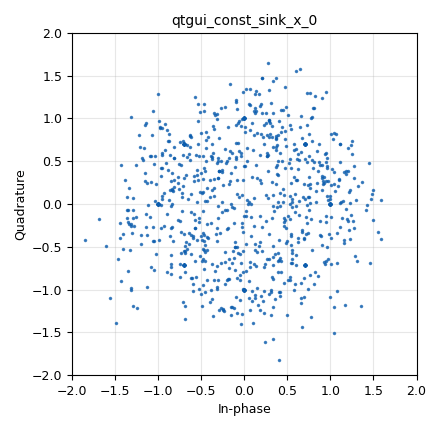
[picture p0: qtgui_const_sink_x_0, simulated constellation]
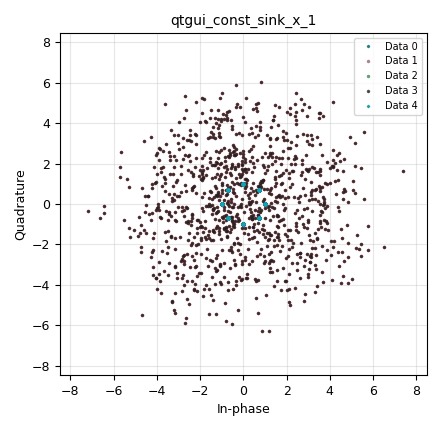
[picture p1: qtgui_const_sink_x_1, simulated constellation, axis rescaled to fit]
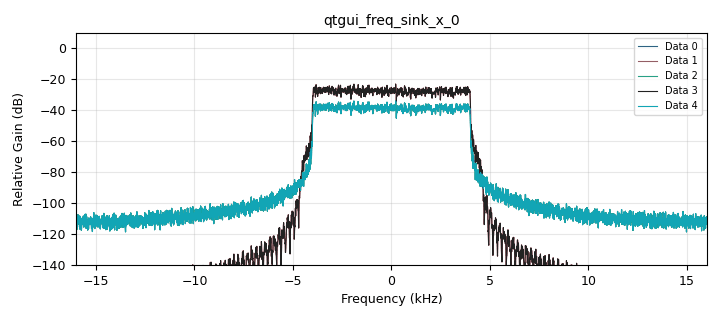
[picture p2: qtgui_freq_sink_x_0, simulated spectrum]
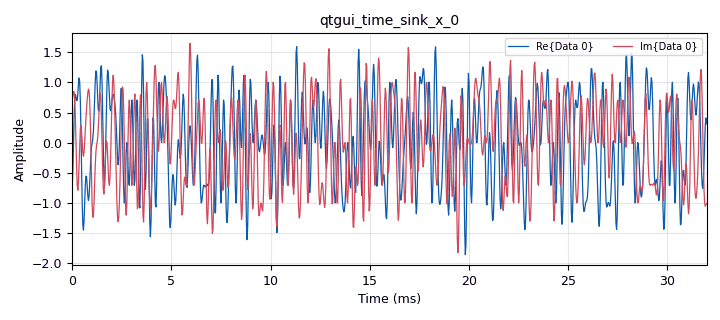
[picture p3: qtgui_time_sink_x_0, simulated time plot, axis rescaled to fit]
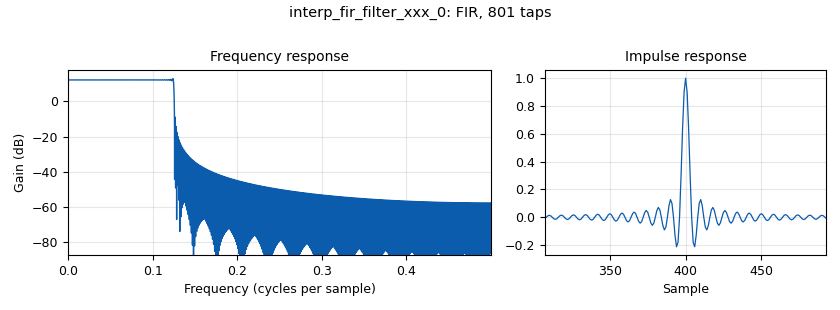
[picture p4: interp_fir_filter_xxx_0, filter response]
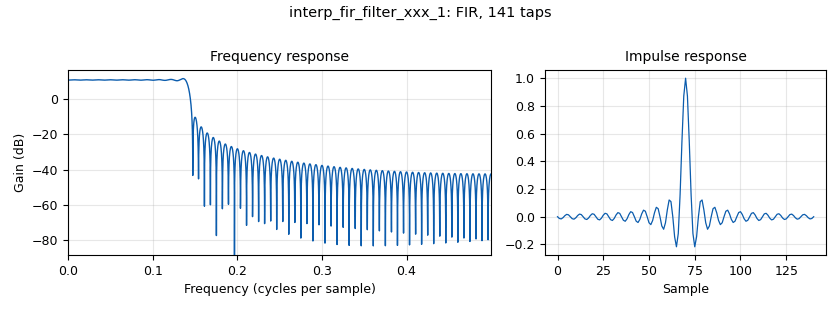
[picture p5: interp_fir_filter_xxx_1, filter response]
options:
  parameters:
    author: prateek
    generate_options: qt_gui
    id: TransmissionSystem
    output_language: python
    title: Not titled yet
  states: {}

blocks:
- name: chantaps
  id: variable
  parameters:
    value: np.sinc(np.linspace(-20,20,141))+tgain*np.sinc(np.linspace(-21,19,141))+tgain*tgain*np.sinc(np.linspace(-22,18,141))
  states: {}
- name: chantaps2
  id: variable
  parameters:
    value: np.sinc(np.linspace(-20,20,141))+tgain*np.sinc(np.linspace(-21,19,141))
  states: {}
- name: doffset
  id: variable_qtgui_range
  parameters:
    orient: Qt.Horizontal
    start: '0'
    step: '1'
    stop: '4'
    value: '0'
  states: {}
- name: doffset2
  id: variable_qtgui_range
  parameters:
    orient: Qt.Horizontal
    start: '0'
    step: '1'
    stop: '4'
    value: '0'
  states: {}
- name: samp_rate
  id: variable
  parameters:
    value: '32000'
  states: {}
- name: testtaps
  id: variable
  parameters:
    value: np.array([1,0,0,0,tgain,0,0,0,tgain*tgain,0,0,0])
  states: {}
- name: tgain
  id: variable_qtgui_range
  parameters:
    orient: Qt.Horizontal
    start: '0'
    step: '0.1'
    stop: '1'
    value: '0'
  states: {}
- name: analog_random_source_x_0
  id: analog_random_source_x
  parameters:
    max: '256'
    min: '0'
    num_samps: '1000'
    repeat: 'True'
    type: byte
  states: {}
- name: blocks_keep_m_in_n_0
  id: blocks_keep_m_in_n
  parameters:
    m: '1'
    n: '4'
    offset: doffset
    type: complex
  states: {}
- name: blocks_keep_m_in_n_0_0
  id: blocks_keep_m_in_n
  parameters:
    m: '1'
    n: '4'
    offset: '0'
    type: complex
  states: {}
- name: blocks_keep_m_in_n_0_0_0
  id: blocks_keep_m_in_n
  parameters:
    m: '1'
    n: '4'
    offset: doffset2
    type: complex
  states: {}
- name: blocks_keep_m_in_n_0_0_0_0
  id: blocks_keep_m_in_n
  parameters:
    m: '1'
    n: '4'
    offset: doffset2
    type: complex
  states: {}
- name: blocks_packed_to_unpacked_xx_0
  id: blocks_packed_to_unpacked_xx
  parameters:
    bits_per_chunk: '3'
    endianness: gr.GR_MSB_FIRST
    type: byte
  states: {}
- name: blocks_throttle_0
  id: blocks_throttle
  parameters:
    samples_per_second: samp_rate
    type: complex
  states: {}
- name: blocks_vector_source_x_0
  id: blocks_vector_source_x
  parameters:
    repeat: 'True'
    type: complex
    vector: '[0]*1000+[0,1,0]+[0]*1000'
  states: {state: disabled}
- name: digital_chunks_to_symbols_xx_0
  id: digital_chunks_to_symbols_xx
  parameters:
    dimension: '1'
    in_type: byte
    out_type: complex
    symbol_table: (np.exp(1*2j*np.pi*np.arange(0,8)/8))
  states: {}
- name: import_0
  id: import
  parameters:
    imports: import numpy as np
  states: {}
- name: interp_fir_filter_xxx_0
  id: interp_fir_filter_xxx
  parameters:
    interp: '4'
    taps: np.sinc(np.linspace(-100,100,801))
    type: ccf
  states: {}
- name: interp_fir_filter_xxx_1
  id: interp_fir_filter_xxx
  parameters:
    interp: '1'
    samp_delay: doffset2
    taps: chantaps2
    type: ccc
  states: {}
- name: interp_fir_filter_xxx_2
  id: interp_fir_filter_xxx
  parameters:
    interp: '1'
    taps: '1'
    type: ccc
  states: {}
- name: interp_fir_filter_xxx_3
  id: interp_fir_filter_xxx
  parameters:
    interp: '1'
    taps: chantaps
    type: ccc
  states: {}
- name: interp_fir_filter_xxx_4
  id: interp_fir_filter_xxx
  parameters:
    interp: '1'
    taps: testtaps
    type: ccc
  states: {}
- name: qtgui_const_sink_x_0
  id: qtgui_const_sink_x
  parameters:
    size: '1024'
    type: complex
  states: {}
- name: qtgui_const_sink_x_1
  id: qtgui_const_sink_x
  parameters:
    color3: '"black"'
    color4: '"green"'
    nconnections: '5'
    size: '1024'
    type: complex
  states: {}
- name: qtgui_freq_sink_x_0
  id: qtgui_freq_sink_x
  parameters:
    average: '0.05'
    bw: samp_rate
    fc: '0'
    fftsize: '4096'
    nconnections: '5'
    type: complex
    wintype: firdes.WIN_BLACKMAN_hARRIS
  states: {}
- name: qtgui_time_sink_x_0
  id: qtgui_time_sink_x
  parameters:
    size: '1024'
    srate: samp_rate
    type: complex
  states: {}

connections:
- [analog_random_source_x_0, '0', blocks_packed_to_unpacked_xx_0, '0']
- [blocks_keep_m_in_n_0, '0', qtgui_const_sink_x_1, '1']
- [blocks_keep_m_in_n_0_0, '0', qtgui_const_sink_x_1, '2']
- [blocks_keep_m_in_n_0_0_0, '0', qtgui_const_sink_x_1, '3']
- [blocks_keep_m_in_n_0_0_0_0, '0', qtgui_const_sink_x_1, '4']
- [blocks_packed_to_unpacked_xx_0, '0', digital_chunks_to_symbols_xx_0, '0']
- [blocks_throttle_0, '0', qtgui_const_sink_x_0, '0']
- [blocks_throttle_0, '0', qtgui_freq_sink_x_0, '0']
- [blocks_throttle_0, '0', qtgui_time_sink_x_0, '0']
- [blocks_vector_source_x_0, '0', interp_fir_filter_xxx_0, '0']
- [blocks_vector_source_x_0, '0', qtgui_const_sink_x_1, '0']
- [digital_chunks_to_symbols_xx_0, '0', interp_fir_filter_xxx_0, '0']
- [digital_chunks_to_symbols_xx_0, '0', qtgui_const_sink_x_1, '0']
- [interp_fir_filter_xxx_0, '0', blocks_throttle_0, '0']
- [interp_fir_filter_xxx_0, '0', interp_fir_filter_xxx_1, '0']
- [interp_fir_filter_xxx_0, '0', interp_fir_filter_xxx_2, '0']
- [interp_fir_filter_xxx_0, '0', interp_fir_filter_xxx_3, '0']
- [interp_fir_filter_xxx_0, '0', interp_fir_filter_xxx_4, '0']
- [interp_fir_filter_xxx_1, '0', blocks_keep_m_in_n_0_0_0, '0']
- [interp_fir_filter_xxx_1, '0', qtgui_freq_sink_x_0, '3']
- [interp_fir_filter_xxx_2, '0', blocks_keep_m_in_n_0_0_0_0, '0']
- [interp_fir_filter_xxx_2, '0', qtgui_freq_sink_x_0, '4']
- [interp_fir_filter_xxx_3, '0', blocks_keep_m_in_n_0, '0']
- [interp_fir_filter_xxx_3, '0', qtgui_freq_sink_x_0, '1']
- [interp_fir_filter_xxx_4, '0', blocks_keep_m_in_n_0_0, '0']
- [interp_fir_filter_xxx_4, '0', qtgui_freq_sink_x_0, '2']

metadata:
  file_format: 1
